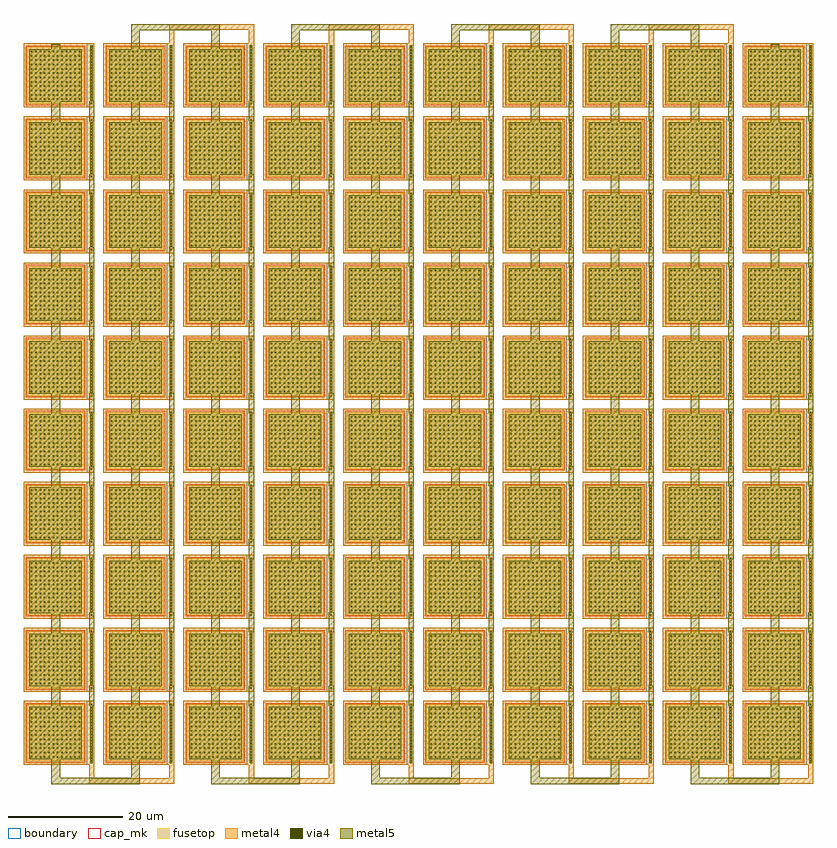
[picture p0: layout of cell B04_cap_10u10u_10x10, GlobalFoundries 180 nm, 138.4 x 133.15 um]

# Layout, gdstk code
import gdstk
lib = gdstk.Library(unit=1e-6, precision=1e-09)
def R(c, l, rs):  # rectangles x0, y0, x1, y1
    for r in rs: c.add(gdstk.rectangle(r[:2], r[2:], *l))
def A(c, l, x, y, w, h, nx, ny, dx, dy):  # array of equal rectangles
    R(c, l, [(x+i*dx, y+j*dy, x+i*dx+w, y+j*dy+h) for i in range(nx) for j in range(ny)])
boundary = (0, 0)
via4 = (41, 0)
metal4 = (46, 0)
fusetop = (75, 0)
metal5 = (81, 0)
cap_mk = (117, 5)

cap_mim_2p0ff_5gvgcq = lib.new_cell('cap_mim_2p0fF_5GVGCQ')
R(cap_mim_2p0ff_5gvgcq, boundary, [(-6.2,-5.6,5,5.6)])
A(cap_mim_2p0ff_5gvgcq, via4, 5.54, -5.07, 0.26, 0.26, 1, 20, 0, 0.52)
A(cap_mim_2p0ff_5gvgcq, via4, -4.91, -4.31, 0.26, 0.26, 12, 12, 0.76, 0.76)
R(cap_mim_2p0ff_5gvgcq, metal4, [(-6.2,-5.6,6.2,5.6)])
R(cap_mim_2p0ff_5gvgcq, fusetop, [(-5.6,-5,4.4,5)])
R(cap_mim_2p0ff_5gvgcq, metal5, [(5.45,-5.315,5.89,5.315), (-5.2,-4.6,4,4.6)])
R(cap_mim_2p0ff_5gvgcq, cap_mk, [(-5.8,-5.2,4.6,5.2)])

b04_cap_10u10u_10x10 = lib.new_cell('B04_cap_10u10u_10x10')
A(b04_cap_10u10u_10x10, metal4, -2.5, -118.5, 14.9, 1, 5, 1, 28, 0)
A(b04_cap_10u10u_10x10, metal4, -2.5, -117.5, 0.9, 12.45, 10, 1, 14, 0)
A(b04_cap_10u10u_10x10, metal4, 25.5, 1.05, 0.9, 12.5, 4, 1, 28, 0)
A(b04_cap_10u10u_10x10, metal4, 11.5, 1.1, 0.9, 12.45, 4, 1, 28, 0)
A(b04_cap_10u10u_10x10, metal4, 11.5, 13.55, 14.9, 1, 4, 1, 28, 0)
A(b04_cap_10u10u_10x10, metal5, -9.1, -118.55, 15.5, 1.1, 5, 1, 28, 0)
A(b04_cap_10u10u_10x10, metal5, 4.9, -117.45, 1.5, 130.95, 8, 1, 14, 0)
A(b04_cap_10u10u_10x10, metal5, -2.5, -104.8, 0.9, 3.5, 10, 9, 14, 12.8)
A(b04_cap_10u10u_10x10, metal5, 4.9, 13.5, 15.5, 1.1, 4, 1, 28, 0)
R(b04_cap_10u10u_10x10, metal5, [(-9.1,-117.45,-7.6,11.05), (116.9,-117.45,118.4,11.05)])
b04_cap_10u10u_10x10.add(gdstk.Reference(cap_mim_2p0ff_5gvgcq, (-7.8,-109.6)))
b04_cap_10u10u_10x10.add(gdstk.Reference(cap_mim_2p0ff_5gvgcq, (20.2,-109.6)))
b04_cap_10u10u_10x10.add(gdstk.Reference(cap_mim_2p0ff_5gvgcq, (6.2,-109.6)))
b04_cap_10u10u_10x10.add(gdstk.Reference(cap_mim_2p0ff_5gvgcq, (48.2,-109.6)))
b04_cap_10u10u_10x10.add(gdstk.Reference(cap_mim_2p0ff_5gvgcq, (34.2,-109.6)))
b04_cap_10u10u_10x10.add(gdstk.Reference(cap_mim_2p0ff_5gvgcq, (76.2,-109.6)))
b04_cap_10u10u_10x10.add(gdstk.Reference(cap_mim_2p0ff_5gvgcq, (62.2,-109.6)))
b04_cap_10u10u_10x10.add(gdstk.Reference(cap_mim_2p0ff_5gvgcq, (104.2,-109.6)))
b04_cap_10u10u_10x10.add(gdstk.Reference(cap_mim_2p0ff_5gvgcq, (90.2,-109.6)))
b04_cap_10u10u_10x10.add(gdstk.Reference(cap_mim_2p0ff_5gvgcq, (118.2,-109.6)))
b04_cap_10u10u_10x10.add(gdstk.Reference(cap_mim_2p0ff_5gvgcq, (-7.8,-96.8)))
b04_cap_10u10u_10x10.add(gdstk.Reference(cap_mim_2p0ff_5gvgcq, (-7.8,-84)))
b04_cap_10u10u_10x10.add(gdstk.Reference(cap_mim_2p0ff_5gvgcq, (20.2,-96.8)))
b04_cap_10u10u_10x10.add(gdstk.Reference(cap_mim_2p0ff_5gvgcq, (6.2,-96.8)))
b04_cap_10u10u_10x10.add(gdstk.Reference(cap_mim_2p0ff_5gvgcq, (20.2,-84)))
b04_cap_10u10u_10x10.add(gdstk.Reference(cap_mim_2p0ff_5gvgcq, (6.2,-84)))
b04_cap_10u10u_10x10.add(gdstk.Reference(cap_mim_2p0ff_5gvgcq, (48.2,-96.8)))
b04_cap_10u10u_10x10.add(gdstk.Reference(cap_mim_2p0ff_5gvgcq, (34.2,-96.8)))
b04_cap_10u10u_10x10.add(gdstk.Reference(cap_mim_2p0ff_5gvgcq, (48.2,-84)))
b04_cap_10u10u_10x10.add(gdstk.Reference(cap_mim_2p0ff_5gvgcq, (34.2,-84)))
b04_cap_10u10u_10x10.add(gdstk.Reference(cap_mim_2p0ff_5gvgcq, (76.2,-96.8)))
b04_cap_10u10u_10x10.add(gdstk.Reference(cap_mim_2p0ff_5gvgcq, (62.2,-96.8)))
b04_cap_10u10u_10x10.add(gdstk.Reference(cap_mim_2p0ff_5gvgcq, (76.2,-84)))
b04_cap_10u10u_10x10.add(gdstk.Reference(cap_mim_2p0ff_5gvgcq, (62.2,-84)))
b04_cap_10u10u_10x10.add(gdstk.Reference(cap_mim_2p0ff_5gvgcq, (104.2,-96.8)))
b04_cap_10u10u_10x10.add(gdstk.Reference(cap_mim_2p0ff_5gvgcq, (90.2,-96.8)))
b04_cap_10u10u_10x10.add(gdstk.Reference(cap_mim_2p0ff_5gvgcq, (104.2,-84)))
b04_cap_10u10u_10x10.add(gdstk.Reference(cap_mim_2p0ff_5gvgcq, (90.2,-84)))
b04_cap_10u10u_10x10.add(gdstk.Reference(cap_mim_2p0ff_5gvgcq, (118.2,-96.8)))
b04_cap_10u10u_10x10.add(gdstk.Reference(cap_mim_2p0ff_5gvgcq, (118.2,-84)))
b04_cap_10u10u_10x10.add(gdstk.Reference(cap_mim_2p0ff_5gvgcq, (-7.8,-71.2)))
b04_cap_10u10u_10x10.add(gdstk.Reference(cap_mim_2p0ff_5gvgcq, (-7.8,-58.4)))
b04_cap_10u10u_10x10.add(gdstk.Reference(cap_mim_2p0ff_5gvgcq, (20.2,-71.2)))
b04_cap_10u10u_10x10.add(gdstk.Reference(cap_mim_2p0ff_5gvgcq, (6.2,-71.2)))
b04_cap_10u10u_10x10.add(gdstk.Reference(cap_mim_2p0ff_5gvgcq, (20.2,-58.4)))
b04_cap_10u10u_10x10.add(gdstk.Reference(cap_mim_2p0ff_5gvgcq, (6.2,-58.4)))
b04_cap_10u10u_10x10.add(gdstk.Reference(cap_mim_2p0ff_5gvgcq, (48.2,-71.2)))
b04_cap_10u10u_10x10.add(gdstk.Reference(cap_mim_2p0ff_5gvgcq, (34.2,-71.2)))
b04_cap_10u10u_10x10.add(gdstk.Reference(cap_mim_2p0ff_5gvgcq, (48.2,-58.4)))
b04_cap_10u10u_10x10.add(gdstk.Reference(cap_mim_2p0ff_5gvgcq, (34.2,-58.4)))
b04_cap_10u10u_10x10.add(gdstk.Reference(cap_mim_2p0ff_5gvgcq, (76.2,-71.2)))
b04_cap_10u10u_10x10.add(gdstk.Reference(cap_mim_2p0ff_5gvgcq, (62.2,-71.2)))
b04_cap_10u10u_10x10.add(gdstk.Reference(cap_mim_2p0ff_5gvgcq, (76.2,-58.4)))
b04_cap_10u10u_10x10.add(gdstk.Reference(cap_mim_2p0ff_5gvgcq, (62.2,-58.4)))
b04_cap_10u10u_10x10.add(gdstk.Reference(cap_mim_2p0ff_5gvgcq, (104.2,-71.2)))
b04_cap_10u10u_10x10.add(gdstk.Reference(cap_mim_2p0ff_5gvgcq, (90.2,-71.2)))
b04_cap_10u10u_10x10.add(gdstk.Reference(cap_mim_2p0ff_5gvgcq, (104.2,-58.4)))
b04_cap_10u10u_10x10.add(gdstk.Reference(cap_mim_2p0ff_5gvgcq, (90.2,-58.4)))
b04_cap_10u10u_10x10.add(gdstk.Reference(cap_mim_2p0ff_5gvgcq, (118.2,-71.2)))
b04_cap_10u10u_10x10.add(gdstk.Reference(cap_mim_2p0ff_5gvgcq, (118.2,-58.4)))
b04_cap_10u10u_10x10.add(gdstk.Reference(cap_mim_2p0ff_5gvgcq, (-7.8,-32.8)))
b04_cap_10u10u_10x10.add(gdstk.Reference(cap_mim_2p0ff_5gvgcq, (-7.8,-45.6)))
b04_cap_10u10u_10x10.add(gdstk.Reference(cap_mim_2p0ff_5gvgcq, (20.2,-32.8)))
b04_cap_10u10u_10x10.add(gdstk.Reference(cap_mim_2p0ff_5gvgcq, (6.2,-32.8)))
b04_cap_10u10u_10x10.add(gdstk.Reference(cap_mim_2p0ff_5gvgcq, (20.2,-45.6)))
b04_cap_10u10u_10x10.add(gdstk.Reference(cap_mim_2p0ff_5gvgcq, (6.2,-45.6)))
b04_cap_10u10u_10x10.add(gdstk.Reference(cap_mim_2p0ff_5gvgcq, (48.2,-32.8)))
b04_cap_10u10u_10x10.add(gdstk.Reference(cap_mim_2p0ff_5gvgcq, (34.2,-32.8)))
b04_cap_10u10u_10x10.add(gdstk.Reference(cap_mim_2p0ff_5gvgcq, (48.2,-45.6)))
b04_cap_10u10u_10x10.add(gdstk.Reference(cap_mim_2p0ff_5gvgcq, (34.2,-45.6)))
b04_cap_10u10u_10x10.add(gdstk.Reference(cap_mim_2p0ff_5gvgcq, (76.2,-32.8)))
b04_cap_10u10u_10x10.add(gdstk.Reference(cap_mim_2p0ff_5gvgcq, (62.2,-32.8)))
b04_cap_10u10u_10x10.add(gdstk.Reference(cap_mim_2p0ff_5gvgcq, (76.2,-45.6)))
b04_cap_10u10u_10x10.add(gdstk.Reference(cap_mim_2p0ff_5gvgcq, (62.2,-45.6)))
b04_cap_10u10u_10x10.add(gdstk.Reference(cap_mim_2p0ff_5gvgcq, (104.2,-32.8)))
b04_cap_10u10u_10x10.add(gdstk.Reference(cap_mim_2p0ff_5gvgcq, (90.2,-32.8)))
b04_cap_10u10u_10x10.add(gdstk.Reference(cap_mim_2p0ff_5gvgcq, (104.2,-45.6)))
b04_cap_10u10u_10x10.add(gdstk.Reference(cap_mim_2p0ff_5gvgcq, (90.2,-45.6)))
b04_cap_10u10u_10x10.add(gdstk.Reference(cap_mim_2p0ff_5gvgcq, (118.2,-32.8)))
b04_cap_10u10u_10x10.add(gdstk.Reference(cap_mim_2p0ff_5gvgcq, (118.2,-45.6)))
b04_cap_10u10u_10x10.add(gdstk.Reference(cap_mim_2p0ff_5gvgcq, (-7.8,-20)))
b04_cap_10u10u_10x10.add(gdstk.Reference(cap_mim_2p0ff_5gvgcq, (-7.8,-7.2)))
b04_cap_10u10u_10x10.add(gdstk.Reference(cap_mim_2p0ff_5gvgcq, (20.2,-20)))
b04_cap_10u10u_10x10.add(gdstk.Reference(cap_mim_2p0ff_5gvgcq, (6.2,-20)))
b04_cap_10u10u_10x10.add(gdstk.Reference(cap_mim_2p0ff_5gvgcq, (6.2,-7.2)))
b04_cap_10u10u_10x10.add(gdstk.Reference(cap_mim_2p0ff_5gvgcq, (20.2,-7.2)))
b04_cap_10u10u_10x10.add(gdstk.Reference(cap_mim_2p0ff_5gvgcq, (48.2,-20)))
b04_cap_10u10u_10x10.add(gdstk.Reference(cap_mim_2p0ff_5gvgcq, (34.2,-20)))
b04_cap_10u10u_10x10.add(gdstk.Reference(cap_mim_2p0ff_5gvgcq, (34.2,-7.2)))
b04_cap_10u10u_10x10.add(gdstk.Reference(cap_mim_2p0ff_5gvgcq, (48.2,-7.2)))
b04_cap_10u10u_10x10.add(gdstk.Reference(cap_mim_2p0ff_5gvgcq, (76.2,-20)))
b04_cap_10u10u_10x10.add(gdstk.Reference(cap_mim_2p0ff_5gvgcq, (62.2,-20)))
b04_cap_10u10u_10x10.add(gdstk.Reference(cap_mim_2p0ff_5gvgcq, (62.2,-7.2)))
b04_cap_10u10u_10x10.add(gdstk.Reference(cap_mim_2p0ff_5gvgcq, (76.2,-7.2)))
b04_cap_10u10u_10x10.add(gdstk.Reference(cap_mim_2p0ff_5gvgcq, (104.2,-20)))
b04_cap_10u10u_10x10.add(gdstk.Reference(cap_mim_2p0ff_5gvgcq, (90.2,-20)))
b04_cap_10u10u_10x10.add(gdstk.Reference(cap_mim_2p0ff_5gvgcq, (104.2,-7.2)))
b04_cap_10u10u_10x10.add(gdstk.Reference(cap_mim_2p0ff_5gvgcq, (90.2,-7.2)))
b04_cap_10u10u_10x10.add(gdstk.Reference(cap_mim_2p0ff_5gvgcq, (118.2,-20)))
b04_cap_10u10u_10x10.add(gdstk.Reference(cap_mim_2p0ff_5gvgcq, (118.2,-7.2)))
b04_cap_10u10u_10x10.add(gdstk.Reference(cap_mim_2p0ff_5gvgcq, (-7.8,5.6)))
b04_cap_10u10u_10x10.add(gdstk.Reference(cap_mim_2p0ff_5gvgcq, (6.2,5.6)))
b04_cap_10u10u_10x10.add(gdstk.Reference(cap_mim_2p0ff_5gvgcq, (20.2,5.6)))
b04_cap_10u10u_10x10.add(gdstk.Reference(cap_mim_2p0ff_5gvgcq, (34.2,5.6)))
b04_cap_10u10u_10x10.add(gdstk.Reference(cap_mim_2p0ff_5gvgcq, (48.2,5.6)))
b04_cap_10u10u_10x10.add(gdstk.Reference(cap_mim_2p0ff_5gvgcq, (62.2,5.6)))
b04_cap_10u10u_10x10.add(gdstk.Reference(cap_mim_2p0ff_5gvgcq, (76.2,5.6)))
b04_cap_10u10u_10x10.add(gdstk.Reference(cap_mim_2p0ff_5gvgcq, (104.2,5.6)))
b04_cap_10u10u_10x10.add(gdstk.Reference(cap_mim_2p0ff_5gvgcq, (90.2,5.6)))
b04_cap_10u10u_10x10.add(gdstk.Reference(cap_mim_2p0ff_5gvgcq, (118.2,5.6)))

lib.write_gds('B04_cap_10u10u_10x10.gds')
